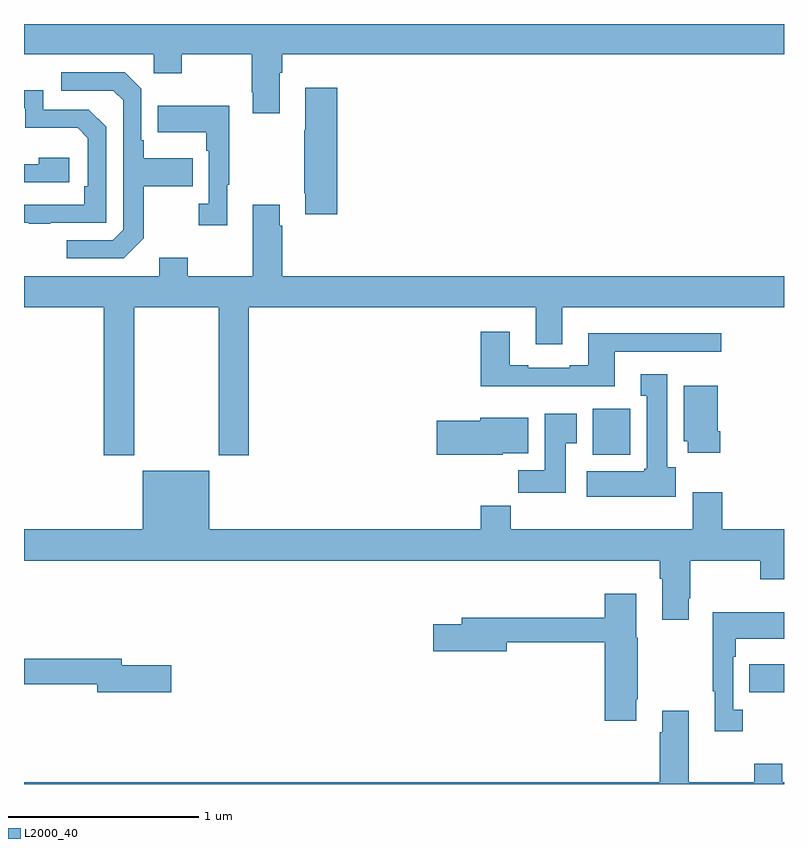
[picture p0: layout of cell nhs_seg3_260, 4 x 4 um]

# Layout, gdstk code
import gdstk
lib = gdstk.Library(unit=1e-6, precision=1e-09)
def R(c, l, rs):  # rectangles x0, y0, x1, y1
    for r in rs: c.add(gdstk.rectangle(r[:2], r[2:], *l))
def P(c, l, *ps):  # polygons
    for p in ps: c.add(gdstk.Polygon(p, *l))
L2000_40 = (2000, 40)

nhs_seg3_260 = lib.new_cell('nhs_seg3_260')
R(nhs_seg3_260, L2000_40, [(126.817,706.882,127,707.029), (125.993,708.134,126.19,708.376)])
P(nhs_seg3_260, L2000_40, [(124.345,710.144),(124.358,710.144),(124.358,710.24),(127,710.24),(127,710.4),(123,710.4),(123,710.24),(123.684,710.24),(123.684,710.141),(123.831,710.141),(123.831,710.24),(124.198,710.24),(124.198,710.041),(124.205,710.041),(124.205,709.929),(124.345,709.929)],
  [(123.631,709.273),(123.631,709.546),(123.887,709.546),(123.887,709.693),(123.631,709.693),(123.631,709.789),(123.618,709.789),(123.618,710.058),(123.531,710.145),(123.195,710.145),(123.195,710.049),(123.471,710.049),(123.522,709.998),(123.522,709.317),(123.468,709.263),(123.225,709.263),(123.225,709.167),(123.525,709.167)],
  [(124.649,710.065),(124.481,710.065),(124.481,709.841),(124.474,709.841),(124.474,709.51),(124.481,709.51),(124.481,709.398),(124.649,709.398)],
  [(123.137,709.353),(123.432,709.353),(123.432,709.86),(123.342,709.95),(123.102,709.95),(123.102,710.052),(123,710.052),(123,709.956),(123.006,709.956),(123.006,709.853),(123.283,709.853),(123.336,709.8),(123.336,709.546),(123.316,709.546),(123.316,709.449),(123,709.449),(123,709.353),(123.025,709.353),(123.025,709.348),(123.137,709.348)],
  [(124.069,709.553),(124.081,709.553),(124.081,709.969),(123.703,709.969),(123.703,709.829),(123.96,709.829),(123.96,709.733),(123.972,709.733),(123.972,709.454),(123.921,709.454),(123.921,709.341),(124.069,709.341)],
  [(123.238,709.696),(123.077,709.696),(123.077,709.662),(123,709.662),(123,709.566),(123.238,709.566)],
  [(123.579,708.908),(124.024,708.908),(124.024,708.129),(124.184,708.129),(124.184,708.908),(125.693,708.908),(125.693,708.714),(125.833,708.714),(125.833,708.908),(127,708.908),(127,709.072),(124.358,709.072),(124.358,709.337),(124.345,709.337),(124.345,709.45),(124.205,709.45),(124.205,709.072),(123.861,709.072),(123.861,709.171),(123.713,709.171),(123.713,709.072),(123,709.072),(123,708.908),(123.419,708.908),(123.419,708.129),(123.579,708.129)],
  [(126.109,708.675),(126.67,708.675),(126.67,708.772),(125.969,708.772),(125.969,708.604),(125.873,708.604),(125.873,708.591),(125.653,708.591),(125.653,708.604),(125.557,708.604),(125.557,708.781),(125.405,708.781),(125.405,708.494),(126.109,708.494)],
  [(126.43,708.066),(126.385,708.066),(126.385,708.556),(126.245,708.556),(126.245,708.443),(126.278,708.443),(126.278,708.06),(126.265,708.06),(126.265,708.046),(125.961,708.046),(125.961,707.912),(126.43,707.912)],
  [(126.665,708.256),(126.652,708.256),(126.652,708.496),(126.473,708.496),(126.473,708.204),(126.494,708.204),(126.494,708.144),(126.665,708.144)],
  [(125.851,708.193),(125.908,708.193),(125.908,708.349),(125.741,708.349),(125.741,708.052),(125.602,708.052),(125.602,707.934),(125.851,707.934)],
  [(125.52,708.14),(125.653,708.14),(125.653,708.328),(125.402,708.328),(125.402,708.311),(125.172,708.311),(125.172,708.134),(125.52,708.134)],
  [(126.499,707.377),(126.507,707.377),(126.507,707.576),(126.874,707.576),(126.874,707.477),(127,707.477),(127,707.74),(126.674,707.74),(126.674,707.935),(126.521,707.935),(126.521,707.74),(125.561,707.74),(125.561,707.864),(125.405,707.864),(125.405,707.74),(123.976,707.74),(123.976,708.049),(123.626,708.049),(123.626,707.74),(123,707.74),(123,707.576),(126.347,707.576),(126.347,707.48),(126.359,707.48),(126.359,707.265),(126.499,707.265)],
  [(126.223,706.846),(126.231,706.846),(126.231,707.169),(126.223,707.169),(126.223,707.401),(126.056,707.401),(126.056,707.275),(125.303,707.275),(125.303,707.241),(125.154,707.241),(125.154,707.099),(125.542,707.099),(125.542,707.146),(126.056,707.146),(126.056,706.734),(126.223,706.734)],
  [(126.784,706.79),(126.732,706.79),(126.732,707.069),(126.745,707.069),(126.745,707.165),(127,707.165),(127,707.305),(126.624,707.305),(126.624,706.889),(126.635,706.889),(126.635,706.677),(126.784,706.677)],
  [(123.775,707.024),(123.514,707.024),(123.514,707.06),(123,707.06),(123,706.924),(123.386,706.924),(123.386,706.882),(123.775,706.882)],
  [(127,706.408),(126.991,706.408),(126.991,706.507),(126.844,706.507),(126.844,706.408),(126.499,706.408),(126.499,706.786),(126.359,706.786),(126.359,706.673),(126.347,706.673),(126.347,706.408),(123,706.408),(123,706.4),(127,706.4)])

lib.write_gds('nhs_seg3_260.gds')
